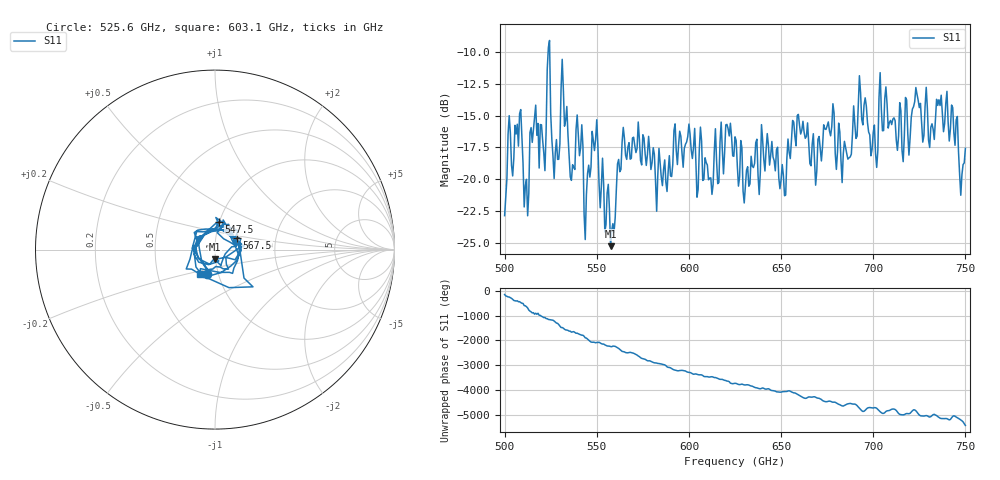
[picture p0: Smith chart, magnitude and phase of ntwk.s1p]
!Created with skrf (http://scikit-rf.org).
# GHz S MA R 50.0
!freq magS11 angS11
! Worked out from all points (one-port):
!   401 points, 500 GHz to 750 GHz, reference 50 ohm
!   lowest |S11| = -25.3 dB at 557.5 GHz (marker M1), VSWR 1.12, Z = 49.6 - j5.42 ohm
!   |S11| at or under -10 dB: start of sweep to 523.6 GHz; 524.5 GHz to end of sweep
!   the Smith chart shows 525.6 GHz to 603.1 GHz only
!   S11 on the Smith chart (normalised r, x): 525.6 GHz: 0.88, -0.25; 547.5 GHz: 0.99, +0.31; 567.5 GHz: 1.27, +0.17; 603.1 GHz: 0.82, -0.23
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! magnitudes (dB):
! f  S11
! 500 GHz  -22.9
! 507.5 GHz  -17.4
! 511.9 GHz  -20.0
! 515.6 GHz  -16.1
! 521.2 GHz  -17.9
! 523.8 GHz  -9.6
! 525.6 GHz  -16.9
! 528.1 GHz  -16.9
! 531.2 GHz  -10.6
! 536.9 GHz  -18.9
! 540.6 GHz  -18.2
! 544.4 GHz  -21.2
! 547.5 GHz  -16.2
! 557.5 GHz  -25.3
! 562.5 GHz  -19.4
! 567.5 GHz  -17.1
! 593.8 GHz  -18.9
! 603.1 GHz  -16.0
! 625 GHz  -16.7
! 651.2 GHz  -19.7
! 656.2 GHz  -15.4
! 687.5 GHz  -18.3
! 693.1 GHz  -13.2
! 700.6 GHz  -15.7
! 704.4 GHz  -14.4
! 718.8 GHz  -16.4
! 735.6 GHz  -13.8
! 750 GHz  -17.6
